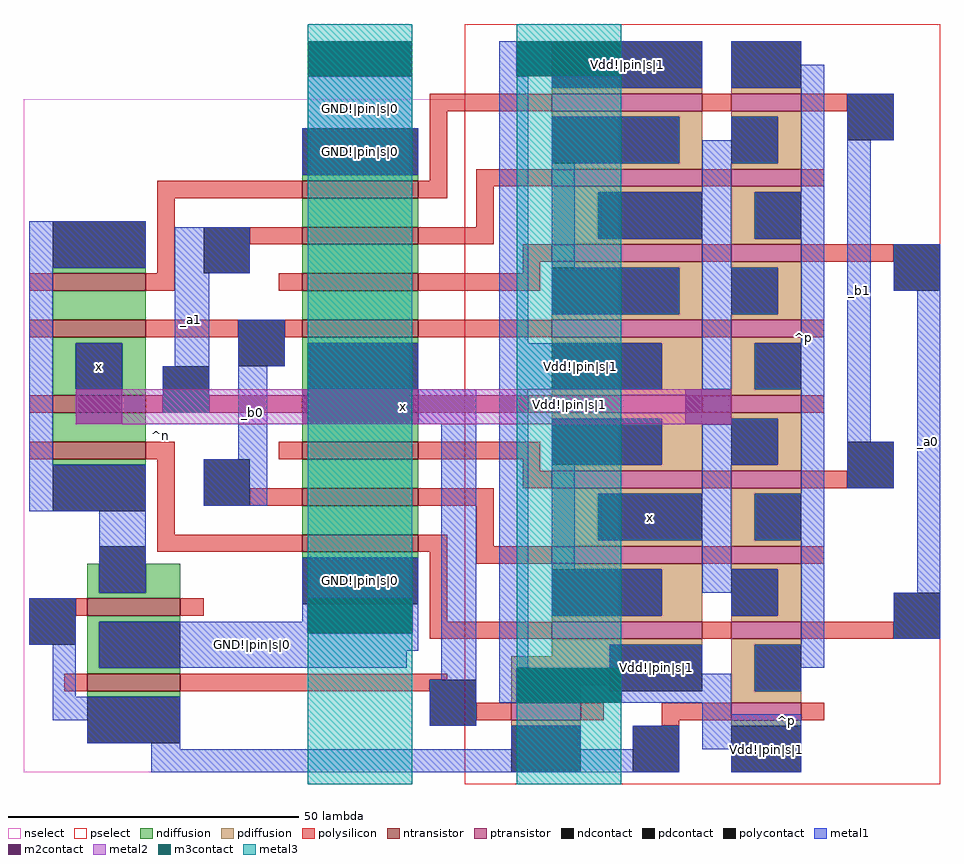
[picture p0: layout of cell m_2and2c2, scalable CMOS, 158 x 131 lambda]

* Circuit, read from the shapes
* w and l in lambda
.subckt m_2and2c2 GND!|pin|s|0 Vdd!|pin|s|1 _a0 _a1 _b0 _b1 x
M1 n1 _a0 n2 VSUBS nfet w=16 l=3
M2 x _a1 n1 VSUBS nfet w=16 l=3
M3 n3 _b0 x VSUBS nfet w=16 l=3
M4 n2 _b1 n3 VSUBS nfet w=16 l=3
M5 GND!|pin|s|0 x n4 VSUBS nfet w=16 l=3
M6 n2 n4 GND!|pin|s|0 VSUBS nfet w=16 l=3
M7 n5 _a0 GND!|pin|s|0 VSUBS nfet w=20 l=3
M8 n6 _b0 n5 VSUBS nfet w=20 l=3
M9 n7 _b1 n6 VSUBS nfet w=20 l=3
M10 x _a1 n7 VSUBS nfet w=20 l=3
M11 n8 _b0 x VSUBS nfet w=20 l=3
M12 n9 _a0 n8 VSUBS nfet w=20 l=3
M13 n10 _a1 n9 VSUBS nfet w=20 l=3
M14 GND!|pin|s|0 _b1 n10 VSUBS nfet w=20 l=3
M15 Vdd!|pin|s|1 x n4 NWELL pfet w=12 l=3
M16 n11 _a0 Vdd!|pin|s|1 NWELL pfet w=26 l=3
M17 x _b0 n11 NWELL pfet w=26 l=3
M18 n11 _b1 x NWELL pfet w=26 l=3
M19 Vdd!|pin|s|1 _a1 n11 NWELL pfet w=26 l=3
M20 n12 _b0 Vdd!|pin|s|1 NWELL pfet w=26 l=3
M21 x _a0 n12 NWELL pfet w=26 l=3
M22 n12 _a1 x NWELL pfet w=26 l=3
M23 Vdd!|pin|s|1 _b1 n12 NWELL pfet w=26 l=3
M24 n13 n4 Vdd!|pin|s|1 NWELL pfet w=12 l=3
M25 x _a0 n13 NWELL pfet w=12 l=3 m=2
M26 n13 _b0 x NWELL pfet w=12 l=3 m=2
M27 x _b1 n13 NWELL pfet w=12 l=3 m=2
M28 n13 _a1 x NWELL pfet w=12 l=3 m=2
.ends

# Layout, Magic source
magic
tech scmos
<< nselect >>
rect -76 10 0 126
<< pselect >>
rect 0 8 82 139
<< ndiffusion >>
rect -28 112 -8 113
rect -71 96 -55 97
rect -28 104 -8 109
rect -28 96 -8 101
rect -71 88 -55 93
rect -28 88 -8 93
rect -71 84 -55 85
rect -71 76 -67 84
rect -59 76 -55 84
rect -28 84 -8 85
rect -71 75 -55 76
rect -28 76 -27 84
rect -28 75 -8 76
rect -71 67 -55 72
rect -28 67 -8 72
rect -71 63 -55 64
rect -28 59 -8 64
rect -28 51 -8 56
rect -65 41 -63 46
rect -28 47 -8 48
rect -55 41 -49 46
rect -65 40 -49 41
rect -65 36 -49 37
rect -65 28 -63 36
rect -65 27 -49 28
rect -65 23 -49 24
<< pdiffusion >>
rect 15 127 41 128
rect 46 127 58 128
rect 15 123 41 124
rect 37 115 41 123
rect 15 114 41 115
rect 46 123 58 124
rect 54 115 58 123
rect 46 114 58 115
rect 15 110 41 111
rect 15 102 23 110
rect 15 101 41 102
rect 46 110 58 111
rect 46 102 50 110
rect 46 101 58 102
rect 15 97 41 98
rect 37 89 41 97
rect 15 88 41 89
rect 46 97 58 98
rect 54 89 58 97
rect 46 88 58 89
rect 15 84 41 85
rect 34 76 41 84
rect 15 75 41 76
rect 46 84 58 85
rect 46 76 50 84
rect 46 75 58 76
rect 15 71 41 72
rect 34 63 41 71
rect 15 62 41 63
rect 46 71 58 72
rect 54 63 58 71
rect 46 62 58 63
rect 15 58 41 59
rect 15 50 23 58
rect 15 49 41 50
rect 46 58 58 59
rect 46 50 50 58
rect 46 49 58 50
rect 15 45 41 46
rect 34 37 41 45
rect 15 36 41 37
rect 46 45 58 46
rect 54 37 58 45
rect 46 36 58 37
rect 15 32 41 33
rect 15 30 25 32
rect 8 25 25 30
rect 8 22 20 25
rect 46 32 58 33
rect 46 24 50 32
rect 46 22 58 24
rect 8 18 20 19
rect 46 18 58 19
<< ntransistor >>
rect -28 109 -8 112
rect -28 101 -8 104
rect -71 93 -55 96
rect -28 93 -8 96
rect -71 85 -55 88
rect -28 85 -8 88
rect -71 72 -55 75
rect -28 72 -8 75
rect -71 64 -55 67
rect -28 64 -8 67
rect -28 56 -8 59
rect -28 48 -8 51
rect -65 37 -49 40
rect -65 24 -49 27
<< ptransistor >>
rect 15 124 41 127
rect 46 124 58 127
rect 15 111 41 114
rect 46 111 58 114
rect 15 98 41 101
rect 46 98 58 101
rect 15 85 41 88
rect 46 85 58 88
rect 15 72 41 75
rect 46 72 58 75
rect 15 59 41 62
rect 46 59 58 62
rect 15 46 41 49
rect 46 46 58 49
rect 15 33 41 36
rect 46 33 58 36
rect 8 19 20 22
rect 46 19 58 22
<< polysilicon >>
rect -6 124 15 127
rect 41 124 46 127
rect 58 124 66 127
rect -6 112 -3 124
rect -53 109 -28 112
rect -8 109 -3 112
rect 2 111 15 114
rect 41 111 46 114
rect 58 111 62 114
rect -53 96 -50 109
rect 2 104 5 111
rect -37 101 -28 104
rect -8 101 5 104
rect 10 98 15 101
rect 41 98 46 101
rect 58 98 74 101
rect 10 96 13 98
rect -75 93 -71 96
rect -55 93 -50 96
rect -32 93 -28 96
rect -8 93 13 96
rect -75 85 -71 88
rect -55 85 -39 88
rect -31 85 -28 88
rect -8 85 15 88
rect 41 85 46 88
rect 58 85 62 88
rect -75 72 -71 75
rect -55 72 -52 75
rect -44 72 -28 75
rect -8 72 15 75
rect 41 72 46 75
rect 58 72 62 75
rect -75 64 -71 67
rect -55 64 -50 67
rect -32 64 -28 67
rect -8 64 13 67
rect -53 51 -50 64
rect 10 62 13 64
rect 10 59 15 62
rect 41 59 46 62
rect 58 59 66 62
rect -37 56 -28 59
rect -8 56 5 59
rect -53 48 -28 51
rect -8 48 -3 51
rect -67 37 -65 40
rect -49 37 -45 40
rect -6 36 -3 48
rect 2 49 5 56
rect 2 46 15 49
rect 41 46 46 49
rect 58 46 62 49
rect -6 33 15 36
rect 41 33 46 36
rect 58 33 74 36
rect -69 24 -65 27
rect -49 26 -3 27
rect -49 24 -6 26
rect 2 19 8 22
rect 20 19 24 22
rect 34 19 46 22
rect 58 19 62 22
rect 34 18 37 19
<< ndcontact >>
rect -28 113 -8 121
rect -71 97 -55 105
rect -67 76 -59 84
rect -27 76 -8 84
rect -71 55 -55 63
rect -63 41 -55 49
rect -28 39 -8 47
rect -63 28 -49 36
rect -65 15 -49 23
<< pdcontact >>
rect 15 128 41 136
rect 46 128 58 136
rect 15 115 37 123
rect 46 115 54 123
rect 23 102 41 110
rect 50 102 58 110
rect 15 89 37 97
rect 46 89 54 97
rect 15 76 34 84
rect 50 76 58 84
rect 15 63 34 71
rect 46 63 54 71
rect 23 50 41 58
rect 50 50 58 58
rect 15 37 34 45
rect 46 37 54 45
rect 25 24 41 32
rect 50 24 58 32
rect 8 10 20 18
rect 46 10 58 18
<< polycontact >>
rect 66 119 74 127
rect -45 96 -37 104
rect 74 93 82 101
rect -39 80 -31 88
rect -52 72 -44 80
rect -45 56 -37 64
rect 66 59 74 67
rect -75 32 -67 40
rect 74 33 82 41
rect -6 18 2 26
rect 29 10 37 18
<< metal1 >>
rect -27 121 -9 130
rect 6 130 9 136
rect 27 130 41 136
rect -28 113 -8 121
rect -75 97 -55 105
rect -75 63 -71 97
rect -50 96 -37 104
rect -67 76 -59 84
rect -50 80 -44 96
rect -52 72 -44 80
rect -39 80 -31 88
rect 6 84 11 130
rect 15 128 41 130
rect 46 132 58 136
rect 46 128 62 132
rect 15 115 37 123
rect 46 119 54 123
rect 41 115 54 119
rect 15 97 19 115
rect 41 110 46 115
rect 58 110 62 128
rect 23 102 46 110
rect 50 102 62 110
rect 41 97 46 102
rect 15 89 37 97
rect 41 89 54 97
rect -39 64 -34 80
rect -27 76 -8 84
rect 6 76 34 84
rect 41 76 46 89
rect 58 84 62 102
rect 50 76 62 84
rect -8 70 2 76
rect -75 55 -55 63
rect -45 56 -34 64
rect -63 41 -55 55
rect -28 40 -8 47
rect -75 32 -67 40
rect -28 36 -27 40
rect -71 23 -67 32
rect -63 34 -27 36
rect -9 34 -8 40
rect -63 31 -8 34
rect -63 28 -10 31
rect -4 26 2 70
rect -71 19 -49 23
rect -65 15 -49 19
rect -6 18 2 26
rect 6 28 11 76
rect 15 63 34 71
rect 46 70 54 71
rect 41 63 54 70
rect 15 45 19 63
rect 41 58 46 63
rect 58 58 62 76
rect 66 119 74 127
rect 66 67 70 119
rect 74 93 82 101
rect 66 59 74 67
rect 23 50 46 58
rect 50 50 62 58
rect 41 45 46 50
rect 15 37 34 45
rect 41 41 54 45
rect 46 37 54 41
rect 58 32 62 50
rect 78 41 82 93
rect 74 33 82 41
rect 25 28 41 32
rect 6 22 9 28
rect 27 27 41 28
rect 50 28 62 32
rect 27 22 46 27
rect 50 24 58 28
rect 41 20 46 22
rect -54 14 -49 15
rect 8 14 20 18
rect 29 14 37 18
rect 41 14 58 20
rect -54 10 37 14
rect 46 10 58 14
<< m2contact >>
rect -27 130 -9 136
rect 9 130 27 136
rect -67 70 -59 76
rect -28 70 -8 76
rect -27 34 -9 40
rect 38 70 46 76
rect 9 22 27 28
<< metal2 >>
rect -67 70 46 76
<< m3contact >>
rect -27 130 -9 136
rect 9 130 27 136
rect -27 34 -9 40
rect 9 22 27 28
<< metal3 >>
rect -27 8 -9 139
rect 9 8 27 139
<< labels >>
rlabel metal1 32 54 32 54 1 x
rlabel metal1 78 33 82 101 7 _a0
rlabel metal1 66 59 70 127 1 _b1
rlabel metal1 -50 72 -44 104 1 _a1
rlabel metal1 -63 80 -63 80 1 x
rlabel metal1 -39 56 -34 88 1 _b0
rlabel metal2 -67 70 46 76 1 x
rlabel space -77 10 -28 126 7 ^n
rlabel space 34 31 83 139 3 ^p
rlabel space 28 8 83 30 3 ^p
rlabel metal3 -27 8 -9 139 1 GND!|pin|s|0
rlabel metal3 9 8 27 139 1 Vdd!|pin|s|1
rlabel metal1 -28 113 -8 121 1 GND!|pin|s|0
rlabel metal1 -27 113 -9 136 1 GND!|pin|s|0
rlabel metal1 -28 39 -8 47 1 GND!|pin|s|0
rlabel metal1 -63 28 -10 36 1 GND!|pin|s|0
rlabel metal1 25 24 41 32 1 Vdd!|pin|s|1
rlabel metal1 15 128 41 136 1 Vdd!|pin|s|1
rlabel metal1 6 76 34 84 1 Vdd!|pin|s|1
rlabel metal1 6 22 11 136 1 Vdd!|pin|s|1
rlabel metal1 46 10 58 18 1 Vdd!|pin|s|1
<< end >>
